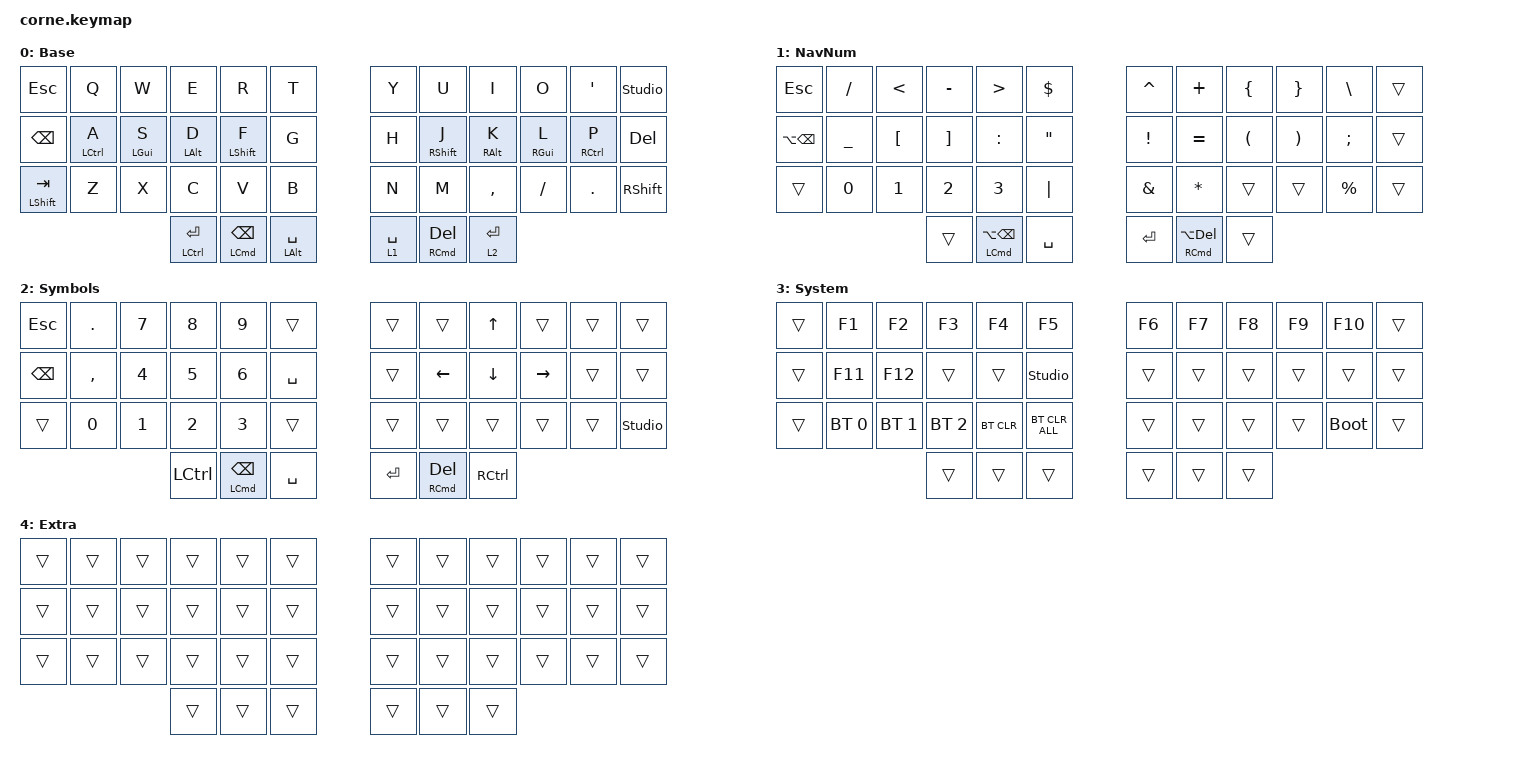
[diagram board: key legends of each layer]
#include <behaviors.dtsi>
#include <dt-bindings/zmk/bt.h>
#include <dt-bindings/zmk/keys.h>

#define DEF 0
#define NAV 1
#define SYM 2
#define ADJ 3
#define EXTRA 4

/ {
    behaviors {
        hm: homerow_mods {
            compatible = "zmk,behavior-hold-tap";
            #binding-cells = <2>;
            tapping-term-ms = <200>;
            flavor = "tap-preferred";
            bindings = <&kp>, <&kp>;

            quick-tap-ms = <180>;
            require-prior-idle-ms = <120>; /* tune to taste */
        };

        para: para {
            compatible = "zmk,behavior-tap-dance";
            #binding-cells = <0>;
            bindings = <&kp LEFT_PARENTHESIS>, <&kp RIGHT_PARENTHESIS>;
        };

        caps: caps {
            compatible = "zmk,behavior-caps-word";
            #binding-cells = <0>;
            continue-list = <MINUS BACKSPACE>;
        };

        paraless: paraless {
            compatible = "zmk,behavior-mod-morph";
            bindings = <&kp LEFT_PARENTHESIS>, <&kp LESS_THAN>;

            #binding-cells = <0>;
            mods = <(MOD_LSFT)>;
        };

        paragreat: paragreat {
            compatible = "zmk,behavior-mod-morph";
            bindings = <&kp RIGHT_PARENTHESIS>, <&kp GREATER_THAN>;

            #binding-cells = <0>;
            mods = <(MOD_LSFT)>;
        };
    };

    macros {
        browsertab: browsertab {
            compatible = "zmk,behavior-macro";
            #binding-cells = <0>;
            bindings =
                <&macro_press>,
                <&kp LCTRL>,
                <&macro_tap>,
                <&kp TAB>,
                <&macro_release>,
                <&kp LCTRL>;
        };
    };

    combos {
        compatible = "zmk,combos";

        avoid-quit {
            bindings = <&kp SLASH>;
            key-positions = <37 1>;
        };
    };

    //

    keymap {
        compatible = "zmk,keymap";

        DEF {
            display-name = "Base";

            // -----------------------------------------------------------------------------------------
            // |  Q  |  W  |  E  |  R  |  T  |   |  Y  |  U   |  I  |  O  |  P  |
            // |  A  |  S  |  D  |  F  |  G  |   |  H  |  J   |  K  |  L  |  ;  |
            // |  Z  |  X  |  C  |  V  |  B  |   |  N  |  M   |  ,  |  .  |  /  |
            // | GUI | CTRL | SHFT | LWR | SPC |   | ENT | RSE  | BKSP | ALT | ESC |

            bindings = <
&kp ESCAPE          &kp Q               &kp W           &kp E                   &kp R                       &kp T                 &kp Y        &kp U                     &kp I            &kp O            &kp SQT      &studio_unlock
&kp BACKSPACE       &hm LEFT_CONTROL A  &hm LEFT_GUI S  &hm LEFT_ALT D          &hm LEFT_SHIFT F            &kp G                 &kp H        &hm RIGHT_SHIFT J         &hm RIGHT_ALT K  &hm RIGHT_GUI L  &hm RCTRL P  &kp DELETE
&mt LEFT_SHIFT TAB  &kp Z               &kp X           &kp C                   &kp V                       &kp B                 &kp N        &kp M                     &kp COMMA        &kp SLASH        &kp PERIOD   &kp RIGHT_SHIFT
                                                        &mt LEFT_CONTROL ENTER  &mt LEFT_COMMAND BACKSPACE  &mt LEFT_ALT SPACE    &lt 1 SPACE  &mt RIGHT_COMMAND DELETE  &lt 2 ENTER
            >;
        };

        NAV {
            display-name = "NavNum";

            // -----------------------------------------------------------------------------------------
            // |  TAB |  1  |  2  |  3  |  4  |  5  |   |  6  |  7  |  8  |  9  |  0  | BKSP |
            // | BTCLR| BT1 | BT2 | BT3 | BT4 | BT5 |   | LFT | DWN |  UP | RGT |     |      |
            // | SHFT |     |     |     |     |     |   |     |     |     |     |     |      |
            // | GUI | CTRL | SHFT | LWR | SPC |   | ENT | RSE  | BKSP | ALT | ESC |

            bindings = <
&kp ESCAPE         &kp SLASH       &kp LESS_THAN     &kp MINUS          &kp GREATER_THAN                &kp DOLLAR           &kp CARET        &kp PLUS                      &kp LEFT_BRACE        &kp RIGHT_BRACE        &kp BACKSLASH  &trans
&kp LA(BACKSPACE)  &kp UNDERSCORE  &kp LEFT_BRACKET  &kp RIGHT_BRACKET  &kp COLON                       &kp DOUBLE_QUOTES    &kp EXCLAMATION  &kp EQUAL                     &kp LEFT_PARENTHESIS  &kp RIGHT_PARENTHESIS  &kp SEMICOLON  &trans
&trans             &kp NUMBER_0    &kp NUMBER_1      &kp NUMBER_2       &kp NUMBER_3                    &kp PIPE             &kp AMPERSAND    &kp ASTERISK                  &trans                &trans                 &kp PERCENT    &trans
                                                     &trans             &mt LEFT_COMMAND LA(BACKSPACE)  &kp SPACE            &kp RET          &mt RIGHT_COMMAND LA(DELETE)  &trans
            >;
        };

        SYM {
            display-name = "Symbols";

            // -----------------------------------------------------------------------------------------
            // |  TAB |  !  |  @  |  #  |  $  |  %  |   |  ^  |  &  |  *  |  (  |  )  | BKSP |
            // | CTRL |     |     |     |     |     |   |  -  |  =  |  [  |  ]  |  \  |  `   |
            // | SHFT |     |     |     |     |     |   |  _  |  +  |  {  |  }  | "|" |  ~   |
            //                    | GUI |     | SPC |   | ENT |     | ALT |

            bindings = <
&kp ESCAPE     &kp PERIOD    &kp NUMBER_7  &kp NUMBER_8      &kp NUMBER_9                &trans       &trans   &trans                    &kp UP_ARROW       &trans     &trans  &trans
&kp BACKSPACE  &kp COMMA     &kp NUMBER_4  &kp NUMBER_5      &kp NUMBER_6                &kp SPACE    &trans   &kp LEFT_ARROW            &kp DOWN           &kp RIGHT  &trans  &trans
&trans         &kp NUMBER_0  &kp NUMBER_1  &kp NUMBER_2      &kp NUMBER_3                &trans       &trans   &trans                    &trans             &trans     &trans  &studio_unlock
                                           &kp LEFT_CONTROL  &mt LEFT_COMMAND BACKSPACE  &kp SPACE    &kp RET  &mt RIGHT_COMMAND DELETE  &kp RIGHT_CONTROL
            >;
        };

        ADJ {
            display-name = "System";
            bindings = <
&trans  &kp F1        &kp F2        &kp F3        &kp F4      &kp F5            &kp F6  &kp F7  &kp F8  &kp F9  &kp F10      &trans
&trans  &kp F11       &kp F12       &trans        &trans      &studio_unlock    &trans  &trans  &trans  &trans  &trans       &trans
&trans  &bt BT_SEL 0  &bt BT_SEL 1  &bt BT_SEL 2  &bt BT_CLR  &bt BT_CLR_ALL    &trans  &trans  &trans  &trans  &bootloader  &trans
                                    &trans        &trans      &trans            &trans  &trans  &trans
            >;
        };

        EXTRA {
            display-name = "Extra";
            bindings = <
&trans  &trans  &trans  &trans  &trans  &trans    &trans  &trans  &trans  &trans  &trans  &trans
&trans  &trans  &trans  &trans  &trans  &trans    &trans  &trans  &trans  &trans  &trans  &trans
&trans  &trans  &trans  &trans  &trans  &trans    &trans  &trans  &trans  &trans  &trans  &trans
                        &trans  &trans  &trans    &trans  &trans  &trans
            >;
        };
    };
};
